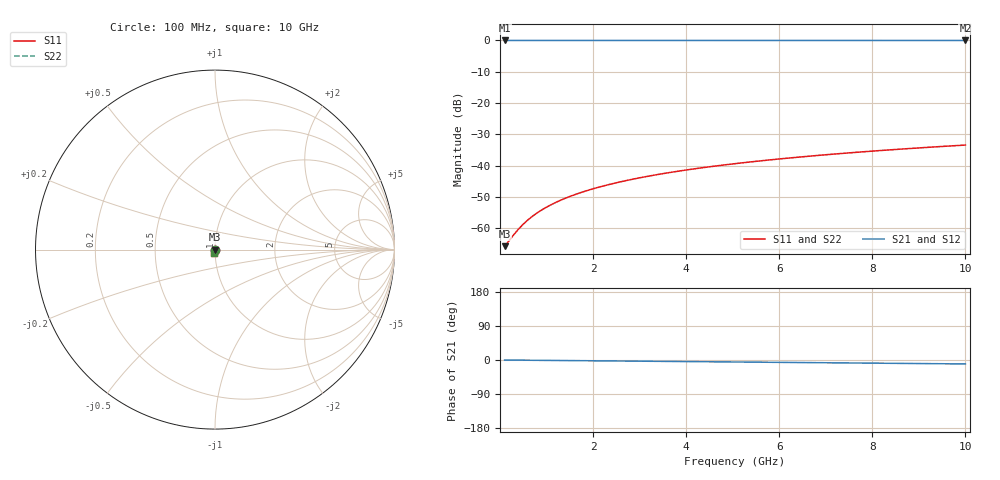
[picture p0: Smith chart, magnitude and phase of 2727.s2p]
# Hz S RI R 50.00
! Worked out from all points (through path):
!   100 points, 100 MHz to 10 GHz, reference 50 ohm
!   highest |S21| = 0.00 dB at 100 MHz (marker M1); lowest = 0.0 dB at 10 GHz (marker M2)
!   group delay of S21, straight-line fit = 2.89 ps
!   lowest |S11| = -65.7 dB at 100 MHz (marker M3), VSWR 1.00, Z = 50 - j0.0213 ohm
!   |S11| at or under -10 dB: start of sweep to end of sweep
!   |S22| runs from -65.7 to -33.4 dB; largest |S21 - S12| = 0
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1e8  0.000472 -0.000213  0.9995 -0.0018  0.9995 -0.0018  0.000472 -0.000213
2e8  0.000473 -0.000425  0.9995 -0.00361  0.9995 -0.00361  0.000473 -0.000425
3e8  0.000472 -0.000638  0.9995 -0.00541  0.9995 -0.00541  0.000472 -0.000638
4e8  0.00047 -0.00085  0.9995 -0.00721  0.9995 -0.00721  0.00047 -0.00085
5e8  0.000468 -0.00106  0.9995 -0.00901  0.9995 -0.00901  0.000468 -0.00106
6e8  0.000464 -0.00128  0.9995 -0.0108  0.9995 -0.0108  0.000464 -0.00128
7e8  0.000459 -0.00149  0.9994 -0.0126  0.9994 -0.0126  0.000459 -0.00149
8e8  0.000454 -0.0017  0.9994 -0.0144  0.9994 -0.0144  0.000454 -0.0017
1e9  0.000441 -0.00213  0.9993 -0.018  0.9993 -0.018  0.000441 -0.00213
1.2e9  0.000424 -0.00255  0.9993 -0.0216  0.9993 -0.0216  0.000424 -0.00255
1.5e9  0.000393 -0.00319  0.9991 -0.027  0.9991 -0.027  0.000393 -0.00319
1.8e9  0.000354 -0.00383  0.999 -0.0325  0.999 -0.0325  0.000354 -0.00383
2.1e9  0.000309 -0.00447  0.9988 -0.0379  0.9988 -0.0379  0.000309 -0.00447
2.5e9  0.000237 -0.00532  0.9984 -0.0451  0.9984 -0.0451  0.000237 -0.00532
2.9e9  0.000153 -0.00617  0.9981 -0.0523  0.9981 -0.0523  0.000153 -0.00617
3.4e9  3.06e-05 -0.00724  0.9976 -0.0613  0.9976 -0.0613  3.06e-05 -0.00724
4.2e9  -0.000206 -0.00894  0.9965 -0.0758  0.9965 -0.0758  -0.000206 -0.00894
5.1e9  -0.000532 -0.0108  0.9951 -0.092  0.9951 -0.092  -0.000532 -0.0108
5.9e9  -0.000874 -0.0125  0.9937 -0.1064  0.9937 -0.1064  -0.000874 -0.0125
6.7e9  -0.00127 -0.0142  0.992 -0.1208  0.992 -0.1208  -0.00127 -0.0142
8.4e9  -0.00226 -0.0178  0.9877 -0.1515  0.9877 -0.1515  -0.00226 -0.0178
1e10  -0.0034 -0.021  0.9827 -0.1802  0.9827 -0.1802  -0.0034 -0.021
